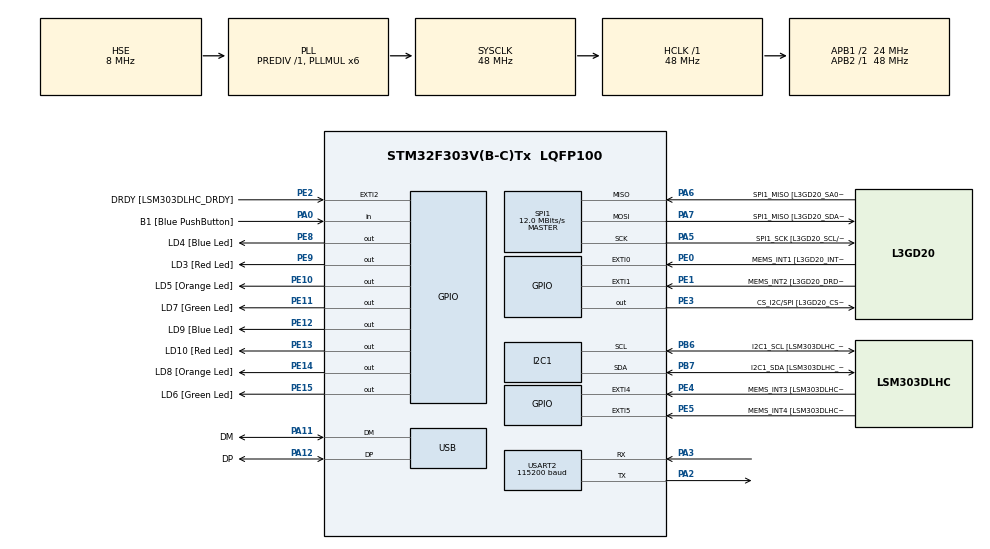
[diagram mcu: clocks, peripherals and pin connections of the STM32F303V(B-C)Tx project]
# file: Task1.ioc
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I2C1.Timing=0x2000090E
I2C1.Timing-I2C=0x2000090E
Mcu.Family=STM32F3
Mcu.Name=STM32F303V(B-C)Tx
Mcu.Package=LQFP100
NVIC.PriorityGroup=NVIC_PRIORITYGROUP_0
PA0.GPIO_Label=B1 [Blue PushButton]
PA0.Signal=GPIO_Input
PA11.GPIO_Label=DM
PA11.Mode=Device
PA11.Signal=USB_DM
PA12.GPIO_Label=DP
PA12.Mode=Device
PA12.Signal=USB_DP
PA13.GPIO_Label=SWDIO
PA13.Mode=Serial_Wire
PA13.Signal=SYS_JTMS-SWDIO
PA14.GPIO_Label=SWCLK
PA14.Mode=Serial_Wire
PA14.Signal=SYS_JTCK-SWCLK
PA2.Mode=Asynchronous
PA2.Signal=USART2_TX
PA3.Mode=Asynchronous
PA3.Signal=USART2_RX
PA5.GPIO_Label=SPI1_SCK [L3GD20_SCL/SPC]
PA5.Mode=Full_Duplex_Master
PA5.Signal=SPI1_SCK
PA6.GPIO_Label=SPI1_MISO [L3GD20_SA0/SDO]
PA6.Mode=Full_Duplex_Master
PA6.Signal=SPI1_MISO
PA7.GPIO_Label=SPI1_MISO [L3GD20_SDA/SDI/SDO]
PA7.Mode=Full_Duplex_Master
PA7.Signal=SPI1_MOSI
PB3.GPIO_Label=SWO
PB3.Signal=SYS_JTDO-TRACESWO
PB6.GPIO_Label=I2C1_SCL [LSM303DLHC_SCL]
PB6.GPIO_Pu=GPIO_PULLUP
PB6.Mode=I2C
PB6.Signal=I2C1_SCL
PB7.GPIO_Label=I2C1_SDA [LSM303DLHC_SDA]
PB7.GPIO_Pu=GPIO_PULLUP
PB7.Mode=I2C
PB7.Signal=I2C1_SDA
PC14-OSC32_IN.GPIO_Label=OSC32_IN
PC14-OSC32_IN.Signal=RCC_OSC32_IN
PC15-OSC32_OUT.GPIO_Label=OSC32_OUT
PC15-OSC32_OUT.Signal=RCC_OSC32_OUT
PE0.GPIO_Label=MEMS_INT1 [L3GD20_INT1]
PE0.GPIO_ModeDefaultEXTI=GPIO_MODE_EVT_RISING
PE0.Signal=GPXTI0
PE1.GPIO_Label=MEMS_INT2 [L3GD20_DRDY/INT2]
PE1.GPIO_ModeDefaultEXTI=GPIO_MODE_EVT_RISING
PE1.Signal=GPXTI1
PE10.GPIO_Label=LD5 [Orange Led]
PE10.Signal=GPIO_Output
PE11.GPIO_Label=LD7 [Green Led]
PE11.Signal=GPIO_Output
PE12.GPIO_Label=LD9 [Blue Led]
PE12.Signal=GPIO_Output
PE13.GPIO_Label=LD10 [Red Led]
PE13.Signal=GPIO_Output
PE14.GPIO_Label=LD8 [Orange Led]
PE14.Signal=GPIO_Output
PE15.GPIO_Label=LD6 [Green Led]
PE15.Signal=GPIO_Output
PE2.GPIO_Label=DRDY [LSM303DLHC_DRDY]
PE2.GPIO_ModeDefaultEXTI=GPIO_MODE_EVT_RISING
PE2.Signal=GPXTI2
PE3.GPIO_Label=CS_I2C/SPI [L3GD20_CS_I2C/SPI]
PE3.Signal=GPIO_Output
PE4.GPIO_Label=MEMS_INT3 [LSM303DLHC_INT1]
PE4.GPIO_ModeDefaultEXTI=GPIO_MODE_EVT_RISING
PE4.Signal=GPXTI4
PE5.GPIO_Label=MEMS_INT4 [LSM303DLHC_INT2]
PE5.GPIO_ModeDefaultEXTI=GPIO_MODE_EVT_RISING
PE5.Signal=GPXTI5
PE8.GPIO_Label=LD4 [Blue Led]
PE8.Signal=GPIO_Output
PE9.GPIO_Label=LD3 [Red Led]
PE9.Signal=GPIO_Output
PF0-OSC_IN.GPIO_Label=OSC_IN
PF0-OSC_IN.Mode=HSE-External-Clock-Source
PF0-OSC_IN.Signal=RCC_OSC_IN
PF1-OSC_OUT.GPIO_Label=OSC_OUT
PF1-OSC_OUT.Signal=RCC_OSC_OUT
ProjectManager.HeapSize=0x200
ProjectManager.StackSize=0x400
ProjectManager.TargetToolchain=CMake
RCC.AHBFreq_Value=48000000
RCC.APB1CLKDivider=RCC_HCLK_DIV2
RCC.APB1Freq_Value=24000000
RCC.APB1TimFreq_Value=48000000
RCC.APB2Freq_Value=48000000
RCC.APB2TimFreq_Value=48000000
RCC.CortexFreq_Value=48000000
RCC.HCLKFreq_Value=48000000
RCC.HSE_VALUE=8000000
RCC.HSI_VALUE=8000000
RCC.LSE_VALUE=32768
RCC.PLLMUL=RCC_PLL_MUL6
RCC.SYSCLKFreq_VALUE=48000000
RCC.SYSCLKSourceVirtual=RCC_SYSCLKSOURCE_PLLCLK
RCC.USBFreq_Value=48000000
SPI1.BaudRatePrescaler=SPI_BAUDRATEPRESCALER_4
SPI1.BaudRatePrescaler-Full_Duplex_Master=SPI_BAUDRATEPRESCALER_2
SPI1.CalculateBaudRate=12.0 MBits/s
SPI1.CalculateBaudRate-Full_Duplex_Master=24.0 MBits/s
SPI1.Direction=SPI_DIRECTION_2LINES
SPI1.Mode=SPI_MODE_MASTER
SPI1.Mode-Full_Duplex_Master=SPI_MODE_MASTER
SPI1.VirtualType=VM_MASTER
USART2.BaudRate=115200
USART2.VirtualMode-Asynchronous=VM_ASYNC
board=STM32F3DISCOVERY

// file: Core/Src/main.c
/* USER CODE BEGIN Header */
/**
  ******************************************************************************
  * @file           : main.c
  * @brief          : Main program body
  ******************************************************************************
  * @attention
  *
  * Copyright (c) 2026 STMicroelectronics.
  * All rights reserved.
  *
  * This software is licensed under terms that can be found in the LICENSE file
  * in the root directory of this software component.
  * If no LICENSE file comes with this software, it is provided AS-IS.
  *
  ******************************************************************************
  */
/* USER CODE END Header */
#include "main.h"
#include <string.h>
#include <stdlib.h>
#include <stdio.h>
#include <stdarg.h>

I2C_HandleTypeDef hi2c1;

SPI_HandleTypeDef hspi1;

UART_HandleTypeDef huart2;

PCD_HandleTypeDef hpcd_USB_FS;

void SystemClock_Config(void);
static void MX_GPIO_Init(void);
static void MX_I2C1_Init(void);
static void MX_SPI1_Init(void);
static void MX_USB_PCD_Init(void);
static void MX_USART2_UART_Init(void);
/* USER CODE BEGIN PFP */

void cout(const char* fmt, ...) {
    char buffer[128];
    va_list args;
    va_start(args, fmt);
    int l = vsnprintf(buffer, sizeof(buffer), fmt, args);
    va_end(args);
    if (l > 0) {
        HAL_UART_Transmit(&huart2, (uint8_t*)buffer, l, HAL_MAX_DELAY);
    }
}

/* USER CODE END PFP */

int main(void)
{

  /* MCU Configuration--------------------------------------------------------*/

  /* Reset of all peripherals, Initializes the Flash interface and the Systick. */
  HAL_Init();

  /* Configure the system clock */
  SystemClock_Config();

  /* Initialize all configured peripherals */
  MX_GPIO_Init();
  MX_I2C1_Init();
  MX_SPI1_Init();
  MX_USB_PCD_Init();
  MX_USART2_UART_Init();

  /* Infinite loop */
  /* USER CODE BEGIN WHILE */
  int n =5;
  int* bfr = (int *) calloc(n, sizeof(int));
  cout("Buffer pointer after calloc: %p\r\n", (void*)bfr);
  for (int i =0; i<n;i++) {
          cout("%d ", *(bfr+i));
      }
      cout("\r\n");
  if ( bfr != NULL) {
      uint8_t* msg = (uint8_t*)"True\r\n";
      HAL_UART_Transmit(&huart2, msg, strlen((char*)msg), 100);
      for (int i =0; i<n;i++) {
        if(!*(bfr+i)) {
          *(bfr+i) = i+1;
        }
        else{cout("calloc did not initialize to zero\r\n");}
        cout("%d ", *(bfr+i));

      }
      cout("\r\n");
      free(bfr);
    }
  else {
    uint8_t* msg = (uint8_t*)"False\r\n";
    HAL_UART_Transmit(&huart2, msg, strlen((char*)msg), 100);

  }
  bfr = NULL;
  cout("Buffer pointer after free: %p\r\n", (void*)bfr);

  int n2 =5;
  int* bfr2 = (int *) malloc(n2 * sizeof(int));
  cout("Buffer pointer after malloc: %p\r\n", (void*)bfr2);
  for (int i =0; i<n2;i++) {
          cout("%d ", *(bfr2+i));
      }
      cout("\r\n");
  if ( bfr2 != NULL) {
      uint8_t* msg = (uint8_t*)"True\r\n";
      HAL_UART_Transmit(&huart2, msg, strlen((char*)msg), 100);
      for (int i =0; i<n2;i++) {
          *(bfr2+i) = i+1;
          cout("%d ", *(bfr2+i));
      }
      cout("\r\n");
      free(bfr2);
    }
  else {
    uint8_t* msg = (uint8_t*)"False\r\n";
    HAL_UART_Transmit(&huart2, msg, strlen((char*)msg), 100);

  }
  bfr2 = NULL;
  cout("Buffer pointer after free: %p\r\n", (void*)bfr2);

  {
    /* code */
  }

  while (1)
  {
    /* USER CODE END WHILE */

  }
}

void SystemClock_Config(void)
{
  RCC_OscInitTypeDef RCC_OscInitStruct = {0};
  RCC_ClkInitTypeDef RCC_ClkInitStruct = {0};
  RCC_PeriphCLKInitTypeDef PeriphClkInit = {0};

  /** Initializes the RCC Oscillators according to the specified parameters
  * in the RCC_OscInitTypeDef structure.
  */
  RCC_OscInitStruct.OscillatorType = RCC_OSCILLATORTYPE_HSI|RCC_OSCILLATORTYPE_HSE;
  RCC_OscInitStruct.HSEState = RCC_HSE_BYPASS;
  RCC_OscInitStruct.HSEPredivValue = RCC_HSE_PREDIV_DIV1;
  RCC_OscInitStruct.HSIState = RCC_HSI_ON;
  RCC_OscInitStruct.HSICalibrationValue = RCC_HSICALIBRATION_DEFAULT;
  RCC_OscInitStruct.PLL.PLLState = RCC_PLL_ON;
  RCC_OscInitStruct.PLL.PLLSource = RCC_PLLSOURCE_HSE;
  RCC_OscInitStruct.PLL.PLLMUL = RCC_PLL_MUL6;
  if (HAL_RCC_OscConfig(&RCC_OscInitStruct) != HAL_OK)
  {
    Error_Handler();
  }

  /** Initializes the CPU, AHB and APB buses clocks
  */
  RCC_ClkInitStruct.ClockType = RCC_CLOCKTYPE_HCLK|RCC_CLOCKTYPE_SYSCLK
                              |RCC_CLOCKTYPE_PCLK1|RCC_CLOCKTYPE_PCLK2;
  RCC_ClkInitStruct.SYSCLKSource = RCC_SYSCLKSOURCE_PLLCLK;
  RCC_ClkInitStruct.AHBCLKDivider = RCC_SYSCLK_DIV1;
  RCC_ClkInitStruct.APB1CLKDivider = RCC_HCLK_DIV2;
  RCC_ClkInitStruct.APB2CLKDivider = RCC_HCLK_DIV1;

  if (HAL_RCC_ClockConfig(&RCC_ClkInitStruct, FLASH_LATENCY_1) != HAL_OK)
  {
    Error_Handler();
  }
  PeriphClkInit.PeriphClockSelection = RCC_PERIPHCLK_USB|RCC_PERIPHCLK_USART2
                              |RCC_PERIPHCLK_I2C1;
  PeriphClkInit.Usart2ClockSelection = RCC_USART2CLKSOURCE_PCLK1;
  PeriphClkInit.I2c1ClockSelection = RCC_I2C1CLKSOURCE_HSI;
  PeriphClkInit.USBClockSelection = RCC_USBCLKSOURCE_PLL;
  if (HAL_RCCEx_PeriphCLKConfig(&PeriphClkInit) != HAL_OK)
  {
    Error_Handler();
  }
}

static void MX_I2C1_Init(void)
{

  hi2c1.Instance = I2C1;
  hi2c1.Init.Timing = 0x2000090E;
  hi2c1.Init.OwnAddress1 = 0;
  hi2c1.Init.AddressingMode = I2C_ADDRESSINGMODE_7BIT;
  hi2c1.Init.DualAddressMode = I2C_DUALADDRESS_DISABLE;
  hi2c1.Init.OwnAddress2 = 0;
  hi2c1.Init.OwnAddress2Masks = I2C_OA2_NOMASK;
  hi2c1.Init.GeneralCallMode = I2C_GENERALCALL_DISABLE;
  hi2c1.Init.NoStretchMode = I2C_NOSTRETCH_DISABLE;
  if (HAL_I2C_Init(&hi2c1) != HAL_OK)
  {
    Error_Handler();
  }

  /** Configure Analogue filter
  */
  if (HAL_I2CEx_ConfigAnalogFilter(&hi2c1, I2C_ANALOGFILTER_ENABLE) != HAL_OK)
  {
    Error_Handler();
  }

  /** Configure Digital filter
  */
  if (HAL_I2CEx_ConfigDigitalFilter(&hi2c1, 0) != HAL_OK)
  {
    Error_Handler();
  }

}

static void MX_SPI1_Init(void)
{

  /* SPI1 parameter configuration*/
  hspi1.Instance = SPI1;
  hspi1.Init.Mode = SPI_MODE_MASTER;
  hspi1.Init.Direction = SPI_DIRECTION_2LINES;
  hspi1.Init.DataSize = SPI_DATASIZE_4BIT;
  hspi1.Init.CLKPolarity = SPI_POLARITY_LOW;
  hspi1.Init.CLKPhase = SPI_PHASE_1EDGE;
  hspi1.Init.NSS = SPI_NSS_SOFT;
  hspi1.Init.BaudRatePrescaler = SPI_BAUDRATEPRESCALER_4;
  hspi1.Init.FirstBit = SPI_FIRSTBIT_MSB;
  hspi1.Init.TIMode = SPI_TIMODE_DISABLE;
  hspi1.Init.CRCCalculation = SPI_CRCCALCULATION_DISABLE;
  hspi1.Init.CRCPolynomial = 7;
  hspi1.Init.CRCLength = SPI_CRC_LENGTH_DATASIZE;
  hspi1.Init.NSSPMode = SPI_NSS_PULSE_ENABLE;
  if (HAL_SPI_Init(&hspi1) != HAL_OK)
  {
    Error_Handler();
  }

}

static void MX_USART2_UART_Init(void)
{

  huart2.Instance = USART2;
  huart2.Init.BaudRate = 115200;
  huart2.Init.WordLength = UART_WORDLENGTH_8B;
  huart2.Init.StopBits = UART_STOPBITS_1;
  huart2.Init.Parity = UART_PARITY_NONE;
  huart2.Init.Mode = UART_MODE_TX_RX;
  huart2.Init.HwFlowCtl = UART_HWCONTROL_NONE;
  huart2.Init.OverSampling = UART_OVERSAMPLING_16;
  huart2.Init.OneBitSampling = UART_ONE_BIT_SAMPLE_DISABLE;
  huart2.AdvancedInit.AdvFeatureInit = UART_ADVFEATURE_NO_INIT;
  if (HAL_UART_Init(&huart2) != HAL_OK)
  {
    Error_Handler();
  }

}

static void MX_USB_PCD_Init(void)
{

  hpcd_USB_FS.Instance = USB;
  hpcd_USB_FS.Init.dev_endpoints = 8;
  hpcd_USB_FS.Init.speed = PCD_SPEED_FULL;
  hpcd_USB_FS.Init.phy_itface = PCD_PHY_EMBEDDED;
  hpcd_USB_FS.Init.low_power_enable = DISABLE;
  hpcd_USB_FS.Init.battery_charging_enable = DISABLE;
  if (HAL_PCD_Init(&hpcd_USB_FS) != HAL_OK)
  {
    Error_Handler();
  }

}

static void MX_GPIO_Init(void)
{
  GPIO_InitTypeDef GPIO_InitStruct = {0};

  /* GPIO Ports Clock Enable */
  __HAL_RCC_GPIOE_CLK_ENABLE();
  __HAL_RCC_GPIOC_CLK_ENABLE();
  __HAL_RCC_GPIOF_CLK_ENABLE();
  __HAL_RCC_GPIOA_CLK_ENABLE();
  __HAL_RCC_GPIOB_CLK_ENABLE();

  /*Configure GPIO pin Output Level */
  HAL_GPIO_WritePin(GPIOE, CS_I2C_SPI_Pin|LD4_Pin|LD3_Pin|LD5_Pin
                          |LD7_Pin|LD9_Pin|LD10_Pin|LD8_Pin
                          |LD6_Pin, GPIO_PIN_RESET);

  /*Configure GPIO pins : DRDY_Pin MEMS_INT3_Pin MEMS_INT4_Pin MEMS_INT1_Pin
                           MEMS_INT2_Pin */
  GPIO_InitStruct.Pin = DRDY_Pin|MEMS_INT3_Pin|MEMS_INT4_Pin|MEMS_INT1_Pin
                          |MEMS_INT2_Pin;
  GPIO_InitStruct.Mode = GPIO_MODE_EVT_RISING;
  GPIO_InitStruct.Pull = GPIO_NOPULL;
  HAL_GPIO_Init(GPIOE, &GPIO_InitStruct);

  /*Configure GPIO pins : CS_I2C_SPI_Pin LD4_Pin LD3_Pin LD5_Pin
                           LD7_Pin LD9_Pin LD10_Pin LD8_Pin
                           LD6_Pin */
  GPIO_InitStruct.Pin = CS_I2C_SPI_Pin|LD4_Pin|LD3_Pin|LD5_Pin
                          |LD7_Pin|LD9_Pin|LD10_Pin|LD8_Pin
                          |LD6_Pin;
  GPIO_InitStruct.Mode = GPIO_MODE_OUTPUT_PP;
  GPIO_InitStruct.Pull = GPIO_NOPULL;
  GPIO_InitStruct.Speed = GPIO_SPEED_FREQ_LOW;
  HAL_GPIO_Init(GPIOE, &GPIO_InitStruct);

  /*Configure GPIO pin : B1_Pin */
  GPIO_InitStruct.Pin = B1_Pin;
  GPIO_InitStruct.Mode = GPIO_MODE_INPUT;
  GPIO_InitStruct.Pull = GPIO_NOPULL;
  HAL_GPIO_Init(B1_GPIO_Port, &GPIO_InitStruct);

}

void Error_Handler(void)
{
  __disable_irq();
  while (1)
  {
  }
}
